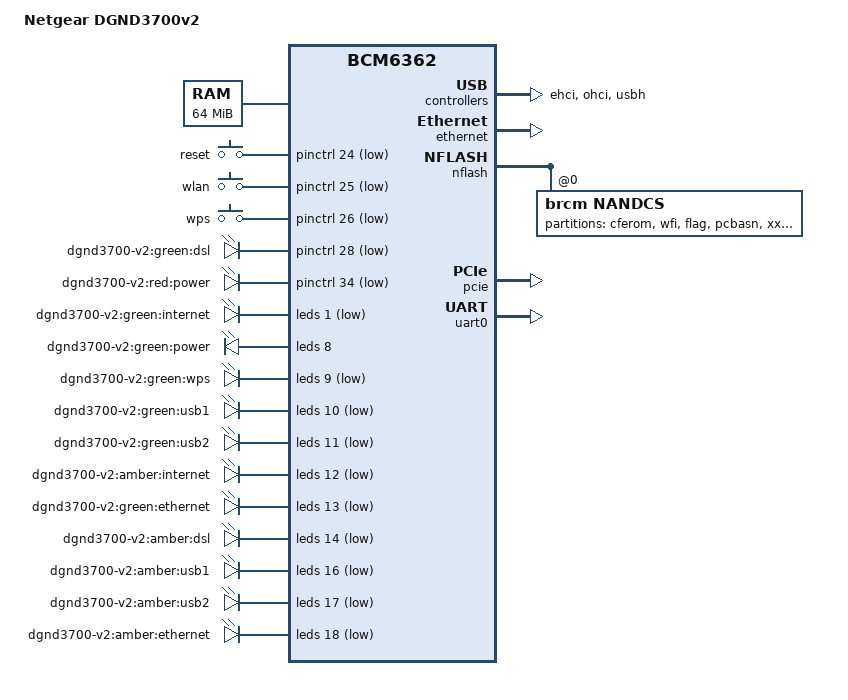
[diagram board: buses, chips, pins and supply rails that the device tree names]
// SPDX-License-Identifier: GPL-2.0-or-later

/dts-v1/;

#include "bcm6362.dtsi"

#include <dt-bindings/input/input.h>

/ {
	model = "Netgear DGND3700v2";
	compatible = "netgear,dgnd3700-v2", "brcm,bcm6362";

	aliases {
		led-boot = &led_power_green;
		led-ethernet = &led_ethernet_green;
		led-failsafe = &led_power_green;
		led-running = &led_power_green;
		led-upgrade = &led_power_green;
		led-usb = &led_usb1_green;
		led-usb2 = &led_usb2_green;
	};

	chosen {
		bootargs = "console=ttyS0,115200 earlycon";
	};

	memory@0 {
		device_type = "memory";
		reg = <0x00000000 0x04000000>;
	};

	keys {
		compatible = "gpio-keys-polled";
		#address-cells = <1>;
		#size-cells = <0>;
		poll-interval = <20>;

		reset {
			label = "reset";
			gpios = <&pinctrl 24 1>;
			linux,code = <KEY_RESTART>;
			debounce-interval = <60>;
		};

		wlan {
			label = "wlan";
			gpios = <&pinctrl 25 1>;
			linux,code = <KEY_WLAN>;
			debounce-interval = <60>;
		};

		wps {
			label = "wps";
			gpios = <&pinctrl 26 1>;
			linux,code = <KEY_WPS_BUTTON>;
			debounce-interval = <60>;
		};
	};

	leds {
		compatible = "gpio-leds";

		led@28 {
			label = "dgnd3700-v2:green:dsl";
			gpios = <&pinctrl 28 1>;
		};

		led@34 {
			label = "dgnd3700-v2:red:power";
			gpios = <&pinctrl 34 1>;
		};
	};
};

&ehci {
	status = "okay";
};

&ethernet {
	status = "okay";

	power-domains = <&periph_pwr BCM6362_POWER_DOMAIN_ROBOSW>,
			<&periph_pwr BCM6362_POWER_DOMAIN_GMII_PADS>;

	mtd-mac-address = <&cferom 0x6a0>;

	ports {
		#address-cells = <1>;
		#size-cells = <0>;

		port@4 {
			reg = <4>;
			label = "rgmii";
			brcm,phy-id = <0xff>;
			brcm,bypass-link;
			fixed-link {
				full-duplex;
				speed = <1000>;
			};
		};
	};
};

&leds {
	status = "okay";
	brcm,serial-leds;
	brcm,serial-dat-low;
	brcm,serial-shift-inv;
	brcm,serial-mux;

	pinctrl-names = "default";
	pinctrl-0 = <&pinctrl_leds &pinctrl_serial_led>;

	led@1 {
		reg = <1>;
		active-low;
		label = "dgnd3700-v2:green:internet";
	};

	led_power_green: led@8 {
		reg = <8>;
		label = "dgnd3700-v2:green:power";
		default-state = "on";
	};

	led@9 {
		reg = <9>;
		active-low;
		label = "dgnd3700-v2:green:wps";
	};

	led@10 {
		reg = <10>;
		active-low;
		label = "dgnd3700-v2:green:usb1";
	};

	led@11 {
		reg = <11>;
		active-low;
		label = "dgnd3700-v2:green:usb2";
	};

	led@12 {
		reg = <12>;
		active-low;
		label = "dgnd3700-v2:amber:internet";
	};

	led_ethernet_green: led@13 {
		reg = <13>;
		active-low;
		label = "dgnd3700-v2:green:ethernet";
	};

	led@14 {
		reg = <14>;
		active-low;
		label = "dgnd3700-v2:amber:dsl";
	};

	led_usb1_green: led@16 {
		reg = <16>;
		active-low;
		label = "dgnd3700-v2:amber:usb1";
	};

	led_usb2_green: led@17 {
		reg = <17>;
		active-low;
		label = "dgnd3700-v2:amber:usb2";
	};

	led@18 {
		reg = <18>;
		active-low;
		label = "dgnd3700-v2:amber:ethernet";
	};
};

&nflash {
	status = "okay";

	nandcs@0 {
		compatible = "brcm,nandcs";
		#size-cells = <1>;
		#address-cells = <1>;
		reg = <0>;
		nand-ecc-step-size = <512>;
		nand-ecc-strength = <15>;
		nand-on-flash-bbt;

		partitions {
			compatible = "fixed-partitions";
			#address-cells = <1>;
			#size-cells = <1>;

			cferom: partition@0 {
				label = "cferom";
				reg = <0x0000000 0x0004000>;
				read-only;
			};

			partition@4000 {
				compatible = "brcm,wfi";
				label = "wfi";
				reg = <0x0004000 0x1c7c000>;
			};

			partition@1c80000 {
				label = "flag";
				reg = <0x1c80000 0x0040000>;
				read-only;
			};

			partition@1cc0000 {
				label = "pcbasn";
				reg = <0x1cc0000 0x0040000>;
				read-only;
			};

			partition@1d00000 {
				label = "xxx";
				reg = <0x1d00000 0x0080000>;
				read-only;
			};

			partition@1d80000 {
				label = "language_dev";
				reg = <0x1d80000 0x0040000>;
				read-only;
			};

			partition@1dc0000 {
				label = "scnvram";
				reg = <0x1dc0000 0x0100000>;
				read-only;
			};
		};
	};
};

&ohci {
	status = "okay";
};

&pcie {
	status = "okay";
};

&pinctrl {
	pinctrl_leds: leds {
		function = "led";
		pins = "gpio1";
	};
};

&uart0 {
	status = "okay";
};

&usbh {
	status = "okay";
};
